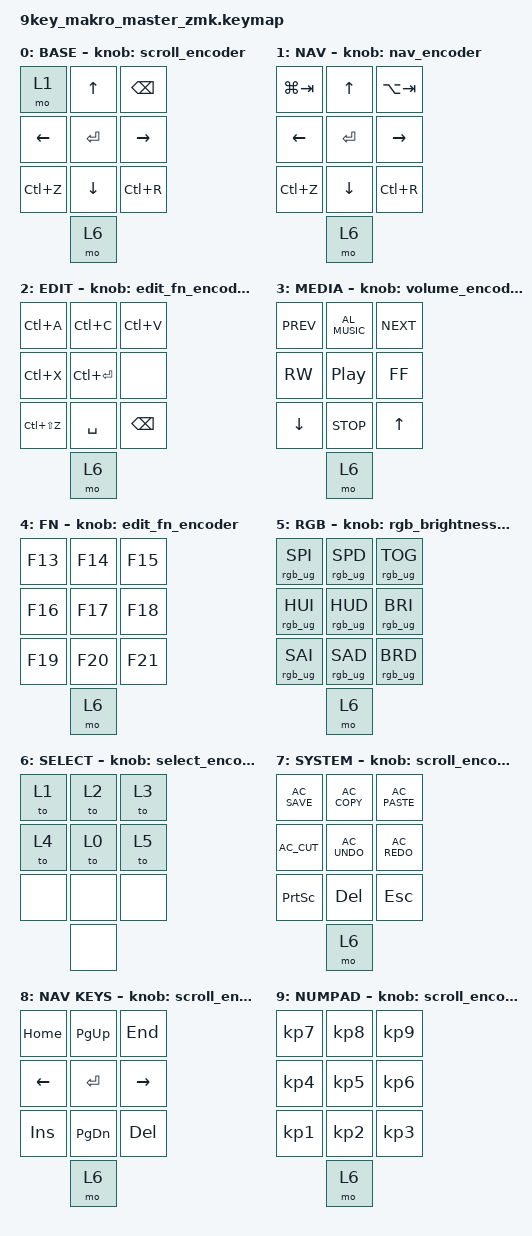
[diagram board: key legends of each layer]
#include <behaviors.dtsi>
#include <dt-bindings/zmk/keys.h>
#include <dt-bindings/zmk/pointing.h>
#include <dt-bindings/zmk/rgb.h>

/ {
    combos {
        compatible = "zmk,combos";
        combo_unlock {
            timeout-ms = <50>;
            key-positions = <0 9>;
            bindings = <&sys_reset>;
        };
    };

    behaviors {
        scroll_encoder: scroll_encoder {
            compatible = "zmk,behavior-sensor-rotate";
            #sensor-binding-cells = <0>;
            bindings = <&msc SCRL_UP>, <&msc SCRL_DOWN>;
        };


        volume_encoder: volume_encoder {
            compatible = "zmk,behavior-sensor-rotate";
            #sensor-binding-cells = <0>;
            bindings = <&kp C_VOL_UP>, <&kp C_VOL_DN>;
        };

        rgb_brightness_encoder: rgb_brightness_encoder {
            compatible = "zmk,behavior-sensor-rotate";
            #sensor-binding-cells = <0>;
            bindings = <&rgb_ug RGB_BRI>, <&rgb_ug RGB_BRD>;
        };

        select_encoder: select_encoder {
            compatible = "zmk,behavior-sensor-rotate";
            #sensor-binding-cells = <0>;
            bindings = <&none>, <&none>;
        };

        // NAV layer: switch windows forward/back (matches QMK _NAV encoder)
        nav_encoder: nav_encoder {
            compatible = "zmk,behavior-sensor-rotate";
            #sensor-binding-cells = <0>;
            bindings = <&kp LG(TAB)>, <&kp LA(TAB)>;
        };

        // EDIT & FN layers: move cursor right/left (matches QMK _EDIT/_FN encoder)
        edit_fn_encoder: edit_fn_encoder {
            compatible = "zmk,behavior-sensor-rotate";
            #sensor-binding-cells = <0>;
            bindings = <&kp RIGHT>, <&kp LEFT>;
        };
    };

    keymap {
        compatible = "zmk,keymap";

        // Layer 0 – BASE
        base_layer {
            display-name = "BASE";
            bindings = <
                &mo 1        &kp UP       &kp BSPC
                &kp LEFT     &kp RET      &kp RIGHT
                &kp LC(Z)    &kp DOWN     &kp LC(R)
                &mo 6
            >;
            sensor-bindings = <&scroll_encoder>;
        };

        // Layer 1 – NAV  (QMK _NAV – same matrix keys as BASE, window-switch encoder)
        nav_layer {
            display-name = "NAV";
            bindings = <
                &kp LG(TAB)  &kp UP       &kp LA(TAB)
                &kp LEFT     &kp RET      &kp RIGHT
                &kp LC(Z)    &kp DOWN     &kp LC(R)
                &mo 6
            >;
            sensor-bindings = <&nav_encoder>;
        };

        // Layer 2 – EDIT  (QMK _EDIT – arrow encoder matches QMK right/left)
        edit_layer {
            display-name = "EDIT";
            bindings = <
                &kp LC(A)      &kp LC(C)      &kp LC(V)
                &kp LC(X)      &kp LC(RET)    &none
                &kp LC(LS(Z))  &kp SPACE      &kp BSPC
                &mo 6
            >;
            sensor-bindings = <&edit_fn_encoder>;
        };

        // Layer 3 – MEDIA  (QMK _MEDIA)
        // (0,1): C_AL_MUSIC ≈ QMK KC_MSEL "Media Select / Launch Player"
        media_layer {
            display-name = "MEDIA";
            bindings = <
                &kp C_PREV   &kp C_AL_MUSIC  &kp C_NEXT
                &kp C_RW     &kp C_PP        &kp C_FF
                &kp DOWN     &kp C_STOP      &kp UP
                &mo 6
            >;
            sensor-bindings = <&volume_encoder>;
        };

        // Layer 4 – FN  (QMK _FN – arrow encoder matches QMK right/left)
        fn_layer {
            display-name = "FN";
            bindings = <
                &kp F13  &kp F14  &kp F15
                &kp F16  &kp F17  &kp F18
                &kp F19  &kp F20  &kp F21
                &mo 6
            >;
            sensor-bindings = <&edit_fn_encoder>;
        };

        // Layer 5 – RGB  (QMK _RGB)
        rgb_layer {
            display-name = "RGB";
            bindings = <
                &rgb_ug RGB_SPI  &rgb_ug RGB_SPD  &rgb_ug RGB_TOG
                &rgb_ug RGB_HUI  &rgb_ug RGB_HUD  &rgb_ug RGB_BRI
                &rgb_ug RGB_SAI  &rgb_ug RGB_SAD  &rgb_ug RGB_BRD
                &mo 6
            >;
            sensor-bindings = <&rgb_brightness_encoder>;
        };

        // Layer 6 - SELECT (QMK _SELECT)
        // Encoder button held -> MO(6) shows this layer; release -> back to previous.
        // Encoder scroll is a no-op here, matching QMK selector behavior.
        // Bottom row is left empty to match the QMK selector layout.
        select_layer {
            display-name = "SELECT";
            bindings = <
                &to 1   &to 2   &to 3
                &to 4   &to 0   &to 5
                &none   &none   &none
                &none
            >;
            sensor-bindings = <&select_encoder>;
        };

        // Layer 7 – SYSTEM  (ZMK-only, no QMK equivalent)
        system_layer {
            display-name = "SYSTEM";
            bindings = <
                &kp C_AC_SAVE  &kp C_AC_COPY  &kp C_AC_PASTE
                &kp C_AC_CUT   &kp C_AC_UNDO  &kp C_AC_REDO
                &kp PSCRN      &kp DEL        &kp ESC
                &mo 6
            >;
            sensor-bindings = <&scroll_encoder>;
        };

        // Layer 8 – NAV KEYS  (ZMK-only, no QMK equivalent)
        navkeys_layer {
            display-name = "NAV KEYS";
            bindings = <
                &kp HOME   &kp PG_UP  &kp END
                &kp LEFT   &kp RET    &kp RIGHT
                &kp INS    &kp PG_DN  &kp DEL
                &mo 6
            >;
            sensor-bindings = <&scroll_encoder>;
        };

        // Layer 9 – NUMPAD  (ZMK-only, no QMK equivalent)
        numpad_layer {
            display-name = "NUMPAD";
            bindings = <
                &kp KP_N7  &kp KP_N8  &kp KP_N9
                &kp KP_N4  &kp KP_N5  &kp KP_N6
                &kp KP_N1  &kp KP_N2  &kp KP_N3
                &mo 6
            >;
            sensor-bindings = <&scroll_encoder>;
        };
    };
};
